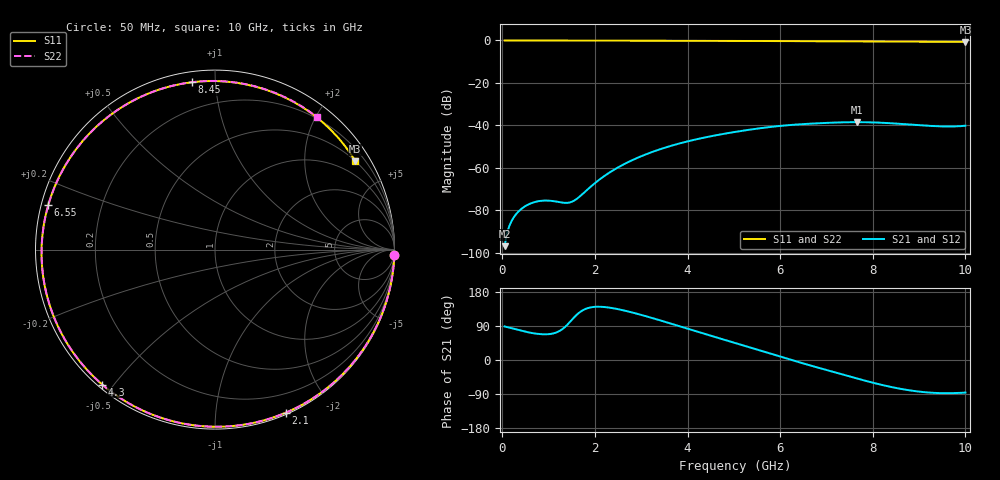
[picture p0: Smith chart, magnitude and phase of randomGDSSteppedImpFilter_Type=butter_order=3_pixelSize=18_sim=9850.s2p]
! freq	dB(S11)	phase(S11)	dB(S12)	phase(S12)
!  dB(S21)	phase(S21)	dB(S22)	phase(S22)
!S-par simulation data
#  GHz  S  DB  R 50
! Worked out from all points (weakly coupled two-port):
!   200 points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, 50 MHz to 10 GHz, reference 50 ohm
!   highest |S21| = -38.48 dB at 7.65 GHz (marker M1); lowest = -96.9 dB at 50 MHz (marker M2)
!   lowest |S11| = -0.7 dB at 10 GHz (marker M3), VSWR 25.37, Z = 25.1 + j170 ohm
!   |S11| at or under -10 dB: nowhere
!   |S22| runs from -0.6 to 0.0 dB; largest |S21 - S12| = 0
!   S11 on the Smith chart (normalised r, x): 50 MHz: 1, -69; 2.1 GHz: 0.02, -1.52; 4.3 GHz: 0.01, -0.47; 6.55 GHz: 0.02, +0.13; 8.45 GHz: 0.05, +0.87; 10 GHz: 0.50, +3.39
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0.05  -0.00 -1.7  -96.90 88.5  -96.90 88.5  -0.00 -1.6
0.35  -0.01 -11.4  -80.56 79.0  -80.56 79.0  -0.01 -11.3
0.6  -0.02 -19.5  -76.89 72.1  -76.89 72.1  -0.02 -19.4
0.85  -0.03 -27.6  -75.51 68.0  -75.51 68.0  -0.03 -27.3
1.45  -0.06 -46.6  -76.35 98.9  -76.35 98.9  -0.06 -46.1
1.75  -0.07 -55.8  -72.01 132.0  -72.01 132.0  -0.07 -55.3
2.1  -0.08 -66.5  -65.49 140.6  -65.49 140.6  -0.08 -65.8
2.7  -0.11 -84.4  -57.49 128.6  -57.49 128.6  -0.10 -83.3
3.4  -0.13 -104.5  -51.30 104.9  -51.30 104.9  -0.13 -102.9
4.3  -0.18 -129.8  -46.04 71.5  -46.04 71.5  -0.17 -127.3
5.05  -0.22 -150.8  -43.00 44.2  -43.00 44.2  -0.21 -147.2
5.8  -0.28 -172.3  -40.72 16.7  -40.72 16.7  -0.26 -167.2
6.55  -0.34 165.0  -39.33 -10.9  -39.33 -10.9  -0.32 172.0
6.7  -0.35 160.3  -39.15 -16.1  -39.15 -16.1  -0.34 167.7
7.15  -0.40 145.5  -38.70 -31.5  -38.70 -31.5  -0.37 154.4
7.65  -0.45 128.2  -38.48 -48.5  -38.48 -48.5  -0.42 138.9
8.35  -0.52 101.8  -38.95 -70.0  -38.95 -70.0  -0.48 115.6
8.45  -0.53 97.9  -39.08 -72.6  -39.08 -72.6  -0.49 112.1
8.85  -0.57 81.6  -39.68 -81.1  -39.68 -81.1  -0.52 97.7
9.2  -0.60 66.8  -40.19 -85.8  -40.19 -85.8  -0.55 84.5
9.6  -0.64 49.6  -40.53 -87.6  -40.53 -87.6  -0.58 68.8
10  -0.69 32.2  -40.16 -86.0  -40.16 -86.0  -0.62 52.6
